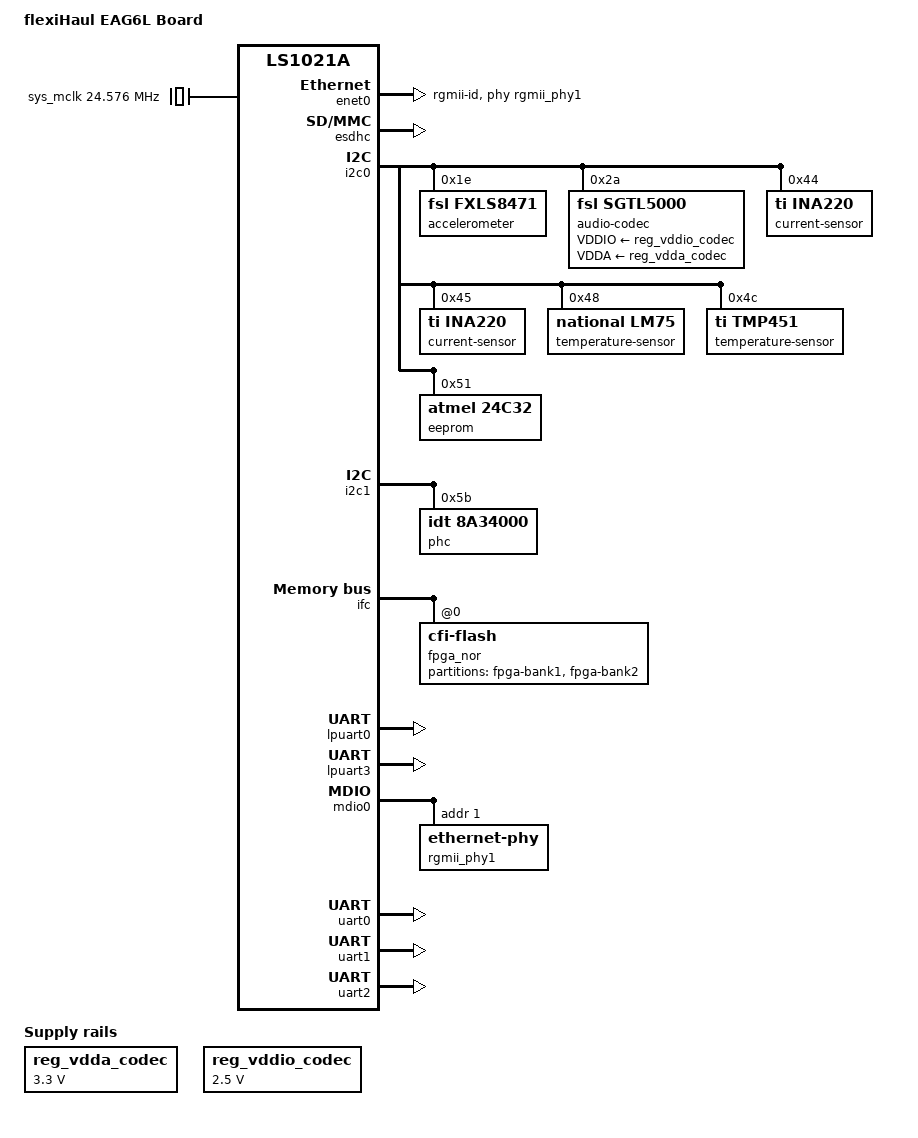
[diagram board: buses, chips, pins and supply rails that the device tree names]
// SPDX-License-Identifier: GPL-2.0
/* Copyright 2016-2018 NXP Semiconductors
 * Copyright 2019 Vladimir Oltean <olteanv@gmail.com>
 */

/dts-v1/;
#include "ls1021a.dtsi"

/ {
	model = "flexiHaul EAG6L Board";

	sys_mclk: clock-mclk {
		compatible = "fixed-clock";
		#clock-cells = <0>;
		clock-frequency = <24576000>;
	};

	reg_vdda_codec: regulator-3V3 {
		compatible = "regulator-fixed";
		regulator-name = "3P3V";
		regulator-min-microvolt = <3300000>;
		regulator-max-microvolt = <3300000>;
		regulator-always-on;
	};

	reg_vddio_codec: regulator-2V5 {
		compatible = "regulator-fixed";
		regulator-name = "2P5V";
		regulator-min-microvolt = <2500000>;
		regulator-max-microvolt = <2500000>;
		regulator-always-on;
	};

	reserved-memory {
		#address-cells = <2>;
		#size-cells = <2>;
		ranges;

		prestera_rsvd: buffer@0x200000000 {
			/* to be used as a shared pool of DMA buffers for a set of devices */
			compatible = "shared-dma-pool";
			/* No one other than devices registered for that mem, may use this area */
			no-map;

			/* Base addr (first 2 cells) requires alignment, we choose start of memory */
			reg = <0x2 0x400000 0x0 0x400000>;
		};
	};

	mv_dma {
		compatible = "marvell,mv_dma";
		memory-region = <&prestera_rsvd>;
		status = "okay";
	};
};

&enet0 {
	phy-handle = <&rgmii_phy1>;
	phy-mode = "rgmii-id";
	status = "okay";
};

&esdhc {
	status = "okay";
};

&i2c0 {
	status = "okay";

	/* 3 axis accelerometer */
	accelerometer@1e {
		compatible = "fsl,fxls8471";
		position = <0>;
		reg = <0x1e>;
	};

	/* Audio codec (SAI2) */
	audio-codec@2a {
		compatible = "fsl,sgtl5000";
		VDDIO-supply = <&reg_vddio_codec>;
		VDDA-supply = <&reg_vdda_codec>;
		#sound-dai-cells = <0>;
		clocks = <&sys_mclk>;
		reg = <0x2a>;
	};

	/* Current sensing circuit for 1V VDDCORE PMIC rail */
	current-sensor@44 {
		compatible = "ti,ina220";
		shunt-resistor = <1000>;
		reg = <0x44>;
	};

	/* Current sensing circuit for 12V VCC rail */
	current-sensor@45 {
		compatible = "ti,ina220";
		shunt-resistor = <1000>;
		reg = <0x45>;
	};

	/* Thermal monitor - case */
	temperature-sensor@48 {
		compatible = "national,lm75";
		reg = <0x48>;
	};

	/* Thermal monitor - chip */
	temperature-sensor@4c {
		compatible = "ti,tmp451";
		reg = <0x4c>;
	};

	eeprom@51 {
		compatible = "atmel,24c32";
		reg = <0x51>;
	};

	/* Unsupported devices:
	 * - FXAS21002C Gyroscope at 0x20
	 * - TI ADS7924 4-channel ADC at 0x49
	 */
};

&i2c1 {
  
	      status = "okay";
   
        phc@5b {
              compatible = "idt,8a34000";
                  reg = <0x5b>;
        };
};


&ifc {
	#address-cells = <2>;
	#size-cells = <1>;
	/* NOR Flash on board */
	ranges = <0x0 0x0 0x0 0x71200000 0x400000>;
	status = "okay";

	fpga_nor@0,0 {
		#address-cells = <1>;
		#size-cells = <1>;
		compatible = "cfi-flash";
		bank-width = <2>;
		device-width = <1>;
		reg = <0x0 0x0 0x2000000>;

    partition@0 {
            reg = <0x0 0x200000>;
            label = "fpga-bank1";
    };
    partition@1 {
            reg = <0x200000 0x400000>;
            label = "fpga-bank2";
    };
	};
};


&lpuart0 {
	status = "okay";
};

&lpuart3 {
	status = "okay";
};

&mdio0 {
	/* AR8031 */
	rgmii_phy1: ethernet-phy@1 {
		reg = <0x1>;
	};

};

/*
&sai2 {
	status = "okay";
};

&sata {
	status = "okay";
};

*/
&uart0 {
	status = "okay";
};

&uart1 {
	status = "okay";
};

&uart2 {
	status = "okay";
};
/*
/{
	sdma_drv {
		compatible = "marvell,mvppnd";
		interrupts = <GIC_SPI 0x23 IRQ_TYPE_LEVEL_HIGH>;
		status = "okay";
	};
};
*/
